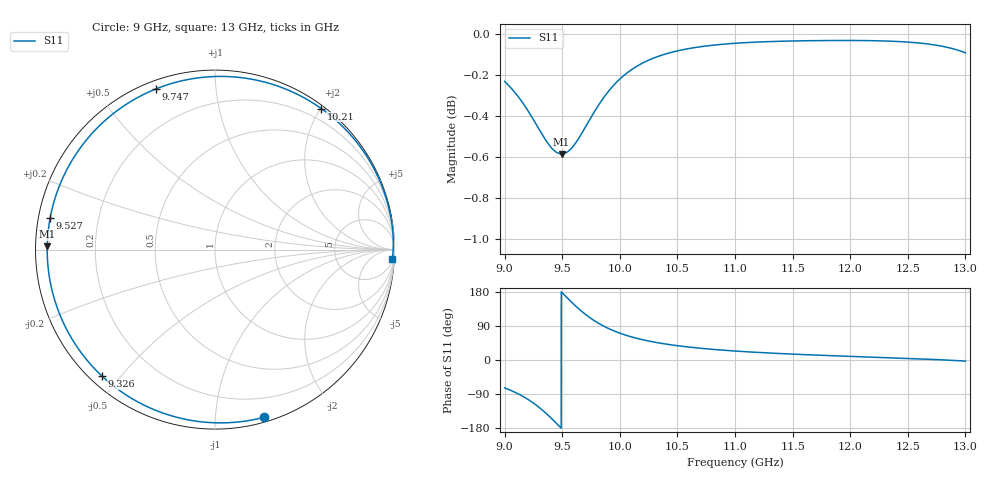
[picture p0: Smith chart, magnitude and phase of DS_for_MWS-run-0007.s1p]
! TOUCHSTONE file generated by CST DESIGN STUDIO
! Date and time: Tue Feb  4 13:16:04 2025
! Project name: C:\Work\MatlabApps\UnitCellOptimizationMatlab\CST\unitcell.cst
! Tree item: Tasks\Sweep1\SPara1\S-Parameters
! Header version: 2024
! Port assignment regex: !\s*Touchstone port\s*([0-9]+)\s*=\s*(CST MWS port|CST DES external port|CST DES block port)\s*(.+)\s* \(\"(.*)\"\)(\s*mode\s*([0-9]+))?.*
! Touchstone port assignment:
! Touchstone port 1 = CST DES external port 1 ("")
# GHz S MA R 50
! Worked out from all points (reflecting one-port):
!   4001 points, 9 GHz to 13 GHz, reference 50 ohm
!   lowest |S11| = -0.6 dB at 9.495 GHz (marker M1), VSWR 29.70, Z = 1.68 + j0.466 ohm
!   phase of S11 starts at -74 deg and turns -289 deg over the sweep
!   S11 on the Smith chart (normalised r, x): 9 GHz: 0.04, -1.33; 9.326 GHz: 0.03, -0.45; 9.527 GHz: 0.03, +0.10; 9.747 GHz: 0.04, +0.70; 10.21 GHz: 0.04, +2.01; 13 GHz: 8, -37
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9  0.9736 -73.7
9.087  0.9677 -84.7
9.189  0.9591 -101.4
9.26  0.9519 -115.8
9.326  0.9451 -131.7
9.371  0.9408 -143.8
9.418  0.9373 -157.5
9.457  0.9355 -169.3
9.495  0.9348 178.9
9.5  0.9349 177.4
9.527  0.9353 169.0
9.579  0.9377 153.3
9.64  0.9427 136.0
9.692  0.948 122.7
9.747  0.9538 110.2
9.854  0.9643 90.4
9.926  0.97 79.8
10  0.9749 70.9
10.097  0.9798 61.4
10.206  0.9839 53.0
10.341  0.9875 44.9
10.5  0.9903 37.7
10.722  0.9928 30.3
11  0.9946 23.7
11.5  0.9959 15.5
12  0.9961 9.6
12.5  0.9952 4.2
13  0.9893 -3.0
